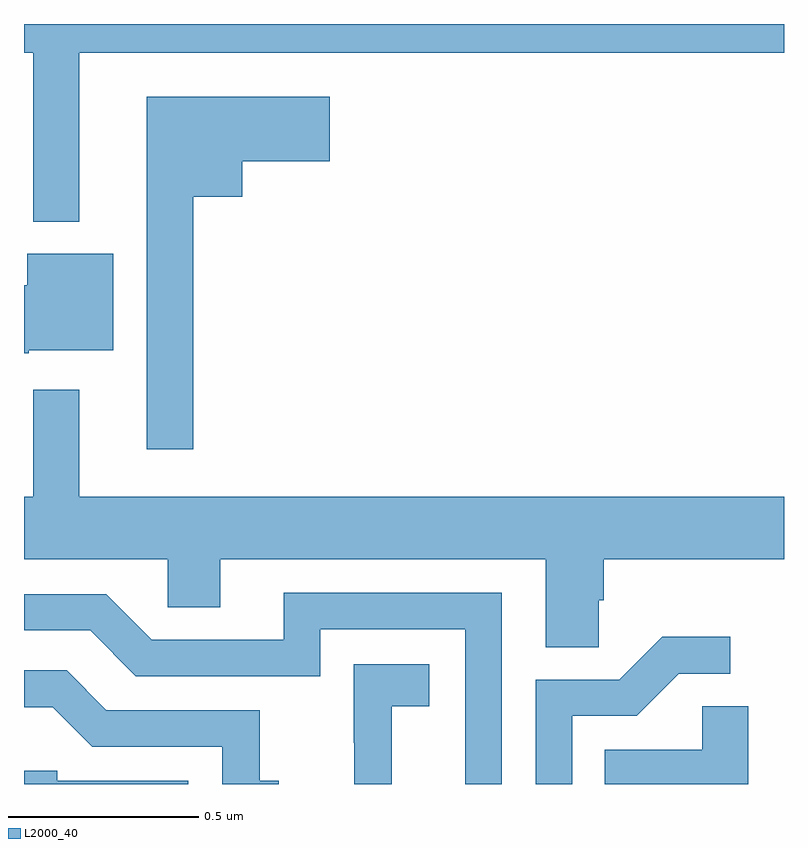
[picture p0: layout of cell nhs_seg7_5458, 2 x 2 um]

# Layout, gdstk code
import gdstk
lib = gdstk.Library(unit=1e-6, precision=1e-09)
def P(c, l, *ps):  # polygons
    for p in ps: c.add(gdstk.Polygon(p, *l))
L2000_40 = (2000, 40)

nhs_seg7_5458 = lib.new_cell('nhs_seg7_5458')
P(nhs_seg7_5458, L2000_40, [(186.145,1025.924),(188,1025.924),(188,1026),(186,1026),(186,1025.924),(186.024,1025.924),(186.024,1025.48),(186.145,1025.48)],
  [(186.445,1025.546),(186.574,1025.546),(186.574,1025.639),(186.805,1025.639),(186.805,1025.809),(186.323,1025.809),(186.323,1024.881),(186.445,1024.881)],
  [(186.012,1025.141),(186.235,1025.141),(186.235,1025.395),(186.008,1025.395),(186.008,1025.312),(186,1025.312),(186,1025.134),(186.012,1025.134)],
  [(187.512,1024.483),(187.526,1024.483),(187.526,1024.592),(188,1024.592),(188,1024.756),(186.145,1024.756),(186.145,1025.038),(186.024,1025.038),(186.024,1024.756),(186,1024.756),(186,1024.592),(186.378,1024.592),(186.378,1024.465),(186.517,1024.465),(186.517,1024.592),(187.373,1024.592),(187.373,1024.36),(187.512,1024.36)],
  [(187.257,1024.503),(186.683,1024.503),(186.683,1024.38),(186.336,1024.38),(186.216,1024.5),(186,1024.5),(186,1024.404),(186.174,1024.404),(186.294,1024.284),(186.78,1024.284),(186.78,1024.407),(187.161,1024.407),(187.161,1024),(187.257,1024)],
  [(187.443,1024.179),(187.612,1024.179),(187.723,1024.29),(187.858,1024.29),(187.858,1024.388),(187.679,1024.388),(187.566,1024.275),(187.347,1024.275),(187.347,1024),(187.443,1024)],
  [(186.968,1024.205),(187.066,1024.205),(187.066,1024.315),(186.868,1024.315),(186.868,1024.109),(186.869,1024.109),(186.869,1024),(186.968,1024)],
  [(186.67,1024.009),(186.621,1024.009),(186.621,1024.194),(186.217,1024.194),(186.112,1024.299),(186,1024.299),(186,1024.202),(186.076,1024.202),(186.18,1024.098),(186.522,1024.098),(186.522,1024),(186.67,1024)],
  [(187.906,1024.205),(187.785,1024.205),(187.785,1024.09),(187.528,1024.09),(187.528,1024),(187.906,1024)],
  [(186.432,1024.008),(186.087,1024.008),(186.087,1024.035),(186,1024.035),(186,1024),(186.432,1024)])

lib.write_gds('nhs_seg7_5458.gds')
